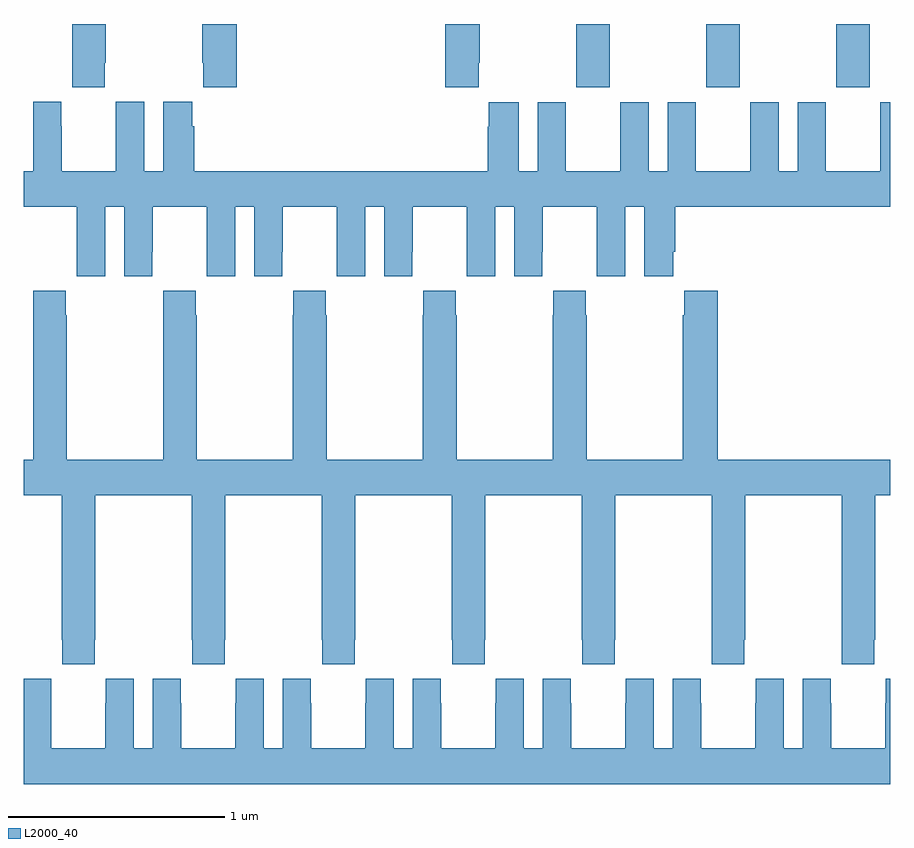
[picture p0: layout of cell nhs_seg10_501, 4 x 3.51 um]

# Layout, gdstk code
import gdstk
lib = gdstk.Library(unit=1e-6, precision=1e-09)
def R(c, l, rs):  # rectangles x0, y0, x1, y1
    for r in rs: c.add(gdstk.rectangle(r[:2], r[2:], *l))
def A(c, l, x, y, w, h, nx, ny, dx, dy):  # array of equal rectangles
    R(c, l, [(x+i*dx, y+j*dy, x+i*dx+w, y+j*dy+h) for i in range(nx) for j in range(ny)])
def P(c, l, *ps):  # polygons
    for p in ps: c.add(gdstk.Polygon(p, *l))
L2000_40 = (2000, 40)

nhs_seg10_501 = lib.new_cell('nhs_seg10_501')
A(nhs_seg10_501, L2000_40, 137.551, 1294.209, 0.155, 0.291, 3, 1, 0.6, 0)
P(nhs_seg10_501, L2000_40, [(135.375,1294.321),(135.378,1294.321),(135.378,1294.5),(135.223,1294.5),(135.223,1294.321),(135.225,1294.321),(135.225,1294.209),(135.375,1294.209)],
  [(135.983,1294.5),(135.823,1294.5),(135.823,1294.321),(135.829,1294.321),(135.829,1294.209),(135.983,1294.209)],
  [(137.101,1294.321),(137.106,1294.321),(137.106,1294.5),(136.946,1294.5),(136.946,1294.209),(137.101,1294.209)],
  [(135.376,1293.656),(135.464,1293.656),(135.464,1293.336),(135.594,1293.336),(135.594,1293.448),(135.595,1293.448),(135.595,1293.656),(135.845,1293.656),(135.845,1293.448),(135.846,1293.448),(135.846,1293.336),(135.976,1293.336),(135.976,1293.656),(136.064,1293.656),(136.064,1293.336),(136.194,1293.336),(136.194,1293.448),(136.195,1293.448),(136.195,1293.656),(136.445,1293.656),(136.445,1293.448),(136.446,1293.448),(136.446,1293.336),(136.576,1293.336),(136.576,1293.656),(136.664,1293.656),(136.664,1293.336),(136.794,1293.336),(136.794,1293.448),(136.795,1293.448),(136.795,1293.656),(137.045,1293.656),(137.045,1293.448),(137.046,1293.448),(137.046,1293.336),(137.176,1293.336),(137.176,1293.656),(137.264,1293.656),(137.264,1293.336),(137.394,1293.336),(137.394,1293.448),(137.395,1293.448),(137.395,1293.656),(137.645,1293.656),(137.645,1293.448),(137.646,1293.448),(137.646,1293.336),(137.776,1293.336),(137.776,1293.656),(137.864,1293.656),(137.864,1293.336),(137.998,1293.336),(137.998,1293.448),(138.008,1293.448),(138.008,1293.656),(139,1293.656),(139,1294.138),(138.953,1294.138),(138.953,1293.82),(138.703,1293.82),(138.703,1294.138),(138.572,1294.138),(138.572,1293.82),(138.484,1293.82),(138.484,1294.138),(138.353,1294.138),(138.353,1293.82),(138.103,1293.82),(138.103,1294.138),(137.972,1294.138),(137.972,1293.82),(137.884,1293.82),(137.884,1294.138),(137.753,1294.138),(137.753,1293.82),(137.503,1293.82),(137.503,1294.138),(137.372,1294.138),(137.372,1293.82),(137.284,1293.82),(137.284,1294.138),(137.147,1294.138),(137.147,1294.025),(137.141,1294.025),(137.141,1293.82),(135.788,1293.82),(135.788,1294.028),(135.778,1294.028),(135.778,1294.141),(135.644,1294.141),(135.644,1293.82),(135.556,1293.82),(135.556,1294.141),(135.426,1294.141),(135.426,1294.028),(135.425,1294.028),(135.425,1293.82),(135.175,1293.82),(135.175,1294.028),(135.174,1294.028),(135.174,1294.141),(135.044,1294.141),(135.044,1293.82),(135,1293.82),(135,1293.656),(135.245,1293.656),(135.245,1293.448),(135.246,1293.448),(135.246,1293.336),(135.376,1293.336)],
  [(135.175,1291.657),(135.177,1291.657),(135.177,1291.545),(135.327,1291.545),(135.327,1291.657),(135.33,1291.657),(135.33,1292.324),(135.775,1292.324),(135.775,1291.657),(135.777,1291.657),(135.777,1291.545),(135.927,1291.545),(135.927,1291.657),(135.93,1291.657),(135.93,1292.324),(136.375,1292.324),(136.375,1291.657),(136.377,1291.657),(136.377,1291.545),(136.527,1291.545),(136.527,1291.657),(136.53,1291.657),(136.53,1292.324),(136.975,1292.324),(136.975,1291.657),(136.977,1291.657),(136.977,1291.545),(137.127,1291.545),(137.127,1291.657),(137.13,1291.657),(137.13,1292.324),(137.575,1292.324),(137.575,1291.657),(137.577,1291.657),(137.577,1291.545),(137.727,1291.545),(137.727,1291.657),(137.73,1291.657),(137.73,1292.324),(138.175,1292.324),(138.175,1291.657),(138.177,1291.657),(138.177,1291.545),(138.327,1291.545),(138.327,1291.657),(138.33,1291.657),(138.33,1292.324),(138.775,1292.324),(138.775,1291.657),(138.777,1291.657),(138.777,1291.545),(138.927,1291.545),(138.927,1291.657),(138.93,1291.657),(138.93,1292.324),(139,1292.324),(139,1292.488),(138.203,1292.488),(138.203,1293.268),(138.049,1293.268),(138.049,1293.155),(138.043,1293.155),(138.043,1292.488),(137.598,1292.488),(137.598,1293.155),(137.595,1293.155),(137.595,1293.268),(137.445,1293.268),(137.445,1293.155),(137.443,1293.155),(137.443,1292.488),(136.998,1292.488),(136.998,1293.155),(136.995,1293.155),(136.995,1293.268),(136.845,1293.268),(136.845,1293.155),(136.843,1293.155),(136.843,1292.488),(136.398,1292.488),(136.398,1293.155),(136.395,1293.155),(136.395,1293.268),(136.245,1293.268),(136.245,1293.155),(136.243,1293.155),(136.243,1292.488),(135.798,1292.488),(135.798,1293.155),(135.795,1293.155),(135.795,1293.268),(135.645,1293.268),(135.645,1293.155),(135.643,1293.155),(135.643,1292.488),(135.198,1292.488),(135.198,1293.155),(135.195,1293.155),(135.195,1293.268),(135.045,1293.268),(135.045,1293.155),(135.043,1293.155),(135.043,1292.488),(135,1292.488),(135,1292.324),(135.175,1292.324)],
  [(139,1291.477),(138.978,1291.477),(138.978,1291.364),(138.977,1291.364),(138.977,1291.156),(138.727,1291.156),(138.727,1291.364),(138.726,1291.364),(138.726,1291.477),(138.596,1291.477),(138.596,1291.156),(138.508,1291.156),(138.508,1291.477),(138.378,1291.477),(138.378,1291.364),(138.377,1291.364),(138.377,1291.156),(138.127,1291.156),(138.127,1291.364),(138.126,1291.364),(138.126,1291.477),(137.996,1291.477),(137.996,1291.156),(137.908,1291.156),(137.908,1291.477),(137.778,1291.477),(137.778,1291.364),(137.777,1291.364),(137.777,1291.156),(137.527,1291.156),(137.527,1291.364),(137.526,1291.364),(137.526,1291.477),(137.396,1291.477),(137.396,1291.156),(137.308,1291.156),(137.308,1291.477),(137.178,1291.477),(137.178,1291.364),(137.177,1291.364),(137.177,1291.156),(136.927,1291.156),(136.927,1291.364),(136.926,1291.364),(136.926,1291.477),(136.796,1291.477),(136.796,1291.156),(136.708,1291.156),(136.708,1291.477),(136.578,1291.477),(136.578,1291.364),(136.577,1291.364),(136.577,1291.156),(136.327,1291.156),(136.327,1291.364),(136.326,1291.364),(136.326,1291.477),(136.196,1291.477),(136.196,1291.156),(136.108,1291.156),(136.108,1291.477),(135.978,1291.477),(135.978,1291.364),(135.977,1291.364),(135.977,1291.156),(135.727,1291.156),(135.727,1291.364),(135.726,1291.364),(135.726,1291.477),(135.596,1291.477),(135.596,1291.156),(135.508,1291.156),(135.508,1291.477),(135.378,1291.477),(135.378,1291.364),(135.377,1291.364),(135.377,1291.156),(135.127,1291.156),(135.127,1291.364),(135.126,1291.364),(135.126,1291.477),(135,1291.477),(135,1290.992),(139,1290.992)])

lib.write_gds('nhs_seg10_501.gds')
